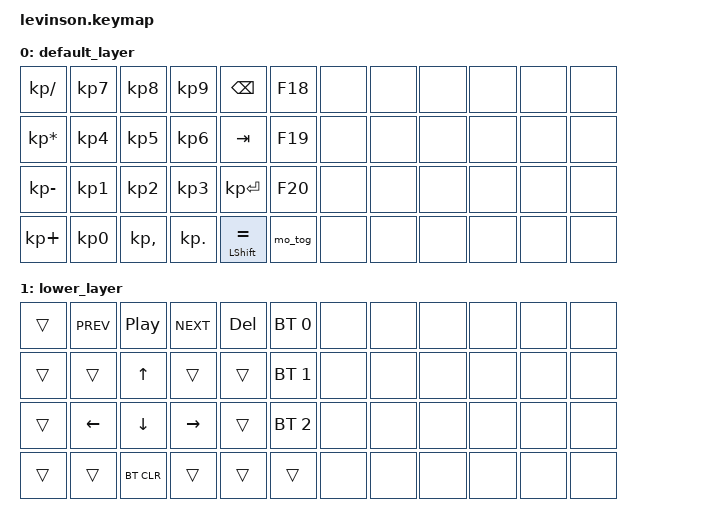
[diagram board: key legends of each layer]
/*
 * Copyright (c) 2021 The ZMK Contributors
 *
 * SPDX-License-Identifier: MIT
 */

#include <behaviors.dtsi>
#include <dt-bindings/zmk/outputs.h>
#include <dt-bindings/zmk/rgb.h>
#include <dt-bindings/zmk/keys.h>
#include <dt-bindings/zmk/bt.h>

//Layer definitions
#define DEFAULT 0
#define LOWER 1 


/ {
    behaviors {
		mo_tog: behavior_mo_tog {
			compatible = "zmk,behavior-tap-dance";
			label = "mo_tog";
			#binding-cells = <0>;
			tapping-term-ms = <200>;
			bindings = <&mo 1>, <&tog 1>;
		};
    };
     
    keymap {
        compatible = "zmk,keymap";

        default_layer {
            bindings = <
    &kp KP_SLASH  &kp KP_N7      &kp KP_N8       &kp KP_N9       &kp BSPC      &kp F18              &none &none &none &none &none &none
    &kp KP_MULTIPLY &kp KP_N4    &kp KP_N5       &kp KP_N6       &kp TAB       &kp F19              &none &none &none &none &none &none
    &kp KP_MINUS &kp KP_N1       &kp KP_N2       &kp KP_N3       &kp KP_ENTER  &kp F20              &none &none &none &none &none &none
    &kp KP_PLUS  &kp KP_N0       &kp KP_COMMA    &kp KP_DOT      &mt LSHIFT EQUAL  &mo_tog          &none &none &none &none &none &none
            >;
        };

       lower_layer {
//  -----------------------------------     ---------------------------------------
// |     |     |     |     |     |     |   |      |      |     |       |     |     |
// |     |     |     |     |     |     |   | LEFT | DOWN | UP  | RIGHT |     |     |
// |     |     |     |     |     |     |   |      |      |     |       |     |     |
// |     |     |     |     |     |     |   |      |      |     |       |     |     |
//  -----------------------------------     ---------------------------------------
            bindings = <
    &trans  &kp C_PREV &kp C_PLAY_PAUSE &kp C_NEXT  &kp DEL  &bt BT_SEL 0    			&none &none &none &none &none &none
    &trans  &trans     &kp UP  		&trans      &trans   &bt BT_SEL 1    			&none &none &none &none &none &none
    &trans  &kp LEFT   &kp DOWN  	&kp RIGHT   &trans   &bt BT_SEL 2    			&none &none &none &none &none &none
    &trans  &trans     &bt BT_CLR 	&trans      &trans   &trans    				&none &none &none &none &none &none
            >;
        }; 
    };
};
